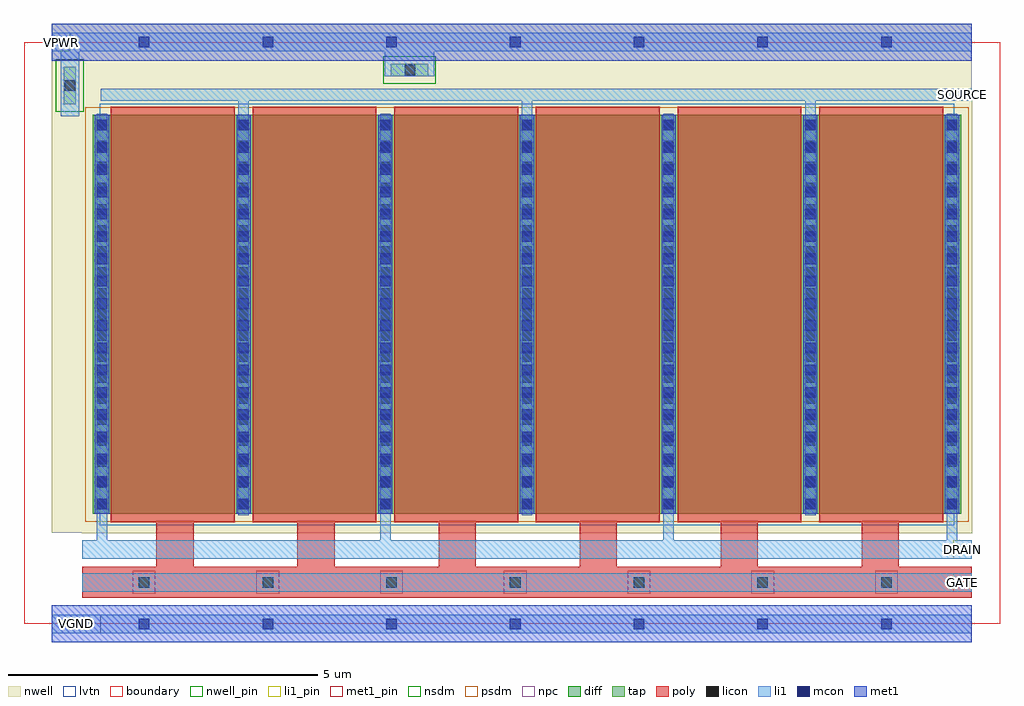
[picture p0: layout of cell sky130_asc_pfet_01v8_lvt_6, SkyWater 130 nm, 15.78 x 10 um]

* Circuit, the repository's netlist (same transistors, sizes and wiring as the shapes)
* NGSPICE file created from sky130_asc_pfet_01v8_lvt_6.ext - technology: sky130A

.subckt sky130_asc_pfet_01v8_lvt_6 GATE SOURCE DRAIN VGND VPWR
X0 SOURCE GATE DRAIN VPWR sky130_fd_pr__pfet_01v8_lvt ad=5.6115e+12p pd=4.044e+07u as=7.482e+12p ps=5.392e+07u w=6.45e+06u l=2e+06u
X1 SOURCE GATE DRAIN VPWR sky130_fd_pr__pfet_01v8_lvt ad=0p pd=0u as=0p ps=0u w=6.45e+06u l=2e+06u
X2 DRAIN GATE SOURCE VPWR sky130_fd_pr__pfet_01v8_lvt ad=0p pd=0u as=0p ps=0u w=6.45e+06u l=2e+06u
X3 DRAIN GATE SOURCE VPWR sky130_fd_pr__pfet_01v8_lvt ad=0p pd=0u as=0p ps=0u w=6.45e+06u l=2e+06u
X4 SOURCE GATE DRAIN VPWR sky130_fd_pr__pfet_01v8_lvt ad=0p pd=0u as=0p ps=0u w=6.45e+06u l=2e+06u
X5 DRAIN GATE SOURCE VPWR sky130_fd_pr__pfet_01v8_lvt ad=0p pd=0u as=0p ps=0u w=6.45e+06u l=2e+06u
.ends

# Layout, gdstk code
import gdstk
lib = gdstk.Library(unit=1e-6, precision=1e-09)
def R(c, l, rs):  # rectangles x0, y0, x1, y1
    for r in rs: c.add(gdstk.rectangle(r[:2], r[2:], *l))
def A(c, l, x, y, w, h, nx, ny, dx, dy):  # array of equal rectangles
    R(c, l, [(x+i*dx, y+j*dy, x+i*dx+w, y+j*dy+h) for i in range(nx) for j in range(ny)])
nwell_pin = (64, 16)
nwell = (64, 20)
diff = (65, 20)
tap = (65, 44)
poly = (66, 20)
licon = (66, 44)
li1_pin = (67, 16)
li1 = (67, 20)
mcon = (67, 44)
met1_pin = (68, 16)
met1 = (68, 20)
nsdm = (93, 44)
psdm = (94, 20)
npc = (95, 20)
lvtn = (125, 44)
boundary = (235, 4)

sky130_asc_pfet_01v8_lvt = lib.new_cell('sky130_asc_pfet_01v8_lvt_6')
R(sky130_asc_pfet_01v8_lvt, nwell_pin, [(0.45,9.25,0.75,9.55)])
R(sky130_asc_pfet_01v8_lvt, nwell, [(0.935,1.465,15.325,1.47), (0.45,1.47,15.325,8.535), (0.45,8.535,15.32,9.7)])
R(sky130_asc_pfet_01v8_lvt, diff, [(1.115,1.775,15.145,8.225)])
R(sky130_asc_pfet_01v8_lvt, tap, [(0.64,8.4,0.84,9), (5.93,8.85,6.53,9.05)])
A(sky130_asc_pfet_01v8_lvt, poly, 2.14, 0.92, 0.6, 0.725, 6, 1, 2.28, 0)
A(sky130_asc_pfet_01v8_lvt, poly, 1.405, 1.645, 2, 6.71, 6, 1, 2.29, 0)
R(sky130_asc_pfet_01v8_lvt, poly, [(0.94,0.42,15.32,0.92)])
A(sky130_asc_pfet_01v8_lvt, licon, 1.855, 0.585, 0.17, 0.17, 7, 1, 2, 0)
A(sky130_asc_pfet_01v8_lvt, licon, 1.175, 1.855, 0.17, 0.17, 7, 19, 2.29, 0.34)
R(sky130_asc_pfet_01v8_lvt, licon, [(0.655,8.615,0.825,8.785), (6.155,8.865,6.325,9.035)])
R(sky130_asc_pfet_01v8_lvt, li1_pin, [(15.02,0.52,15.32,0.82), (15.02,1.05,15.32,1.35), (15.02,8.45,15.32,8.65)])
A(sky130_asc_pfet_01v8_lvt, li1, 1.175, 1.35, 0.17, 6.895, 4, 1, 4.58, 0)
A(sky130_asc_pfet_01v8_lvt, li1, 3.465, 1.755, 0.17, 6.695, 3, 1, 4.58, 0)
R(sky130_asc_pfet_01v8_lvt, li1, [(0.45,-0.15,15.32,0.15), (0.94,0.52,15.32,0.82), (0.94,1.05,15.32,1.35), (0.59,8.2,0.89,9.25), (1.24,8.45,15.32,8.65), (5.83,8.85,6.63,9.25), (0.45,9.25,15.32,9.55)])
A(sky130_asc_pfet_01v8_lvt, mcon, 1.855, -0.085, 0.17, 0.17, 7, 2, 2, 9.4)
A(sky130_asc_pfet_01v8_lvt, mcon, 1.175, 1.855, 0.17, 0.17, 7, 18, 2.29, 0.36)
R(sky130_asc_pfet_01v8_lvt, met1_pin, [(0.45,-0.15,1.24,0.15)])
A(sky130_asc_pfet_01v8_lvt, met1, 1.145, 1.775, 0.23, 6.45, 7, 1, 2.29, 0)
R(sky130_asc_pfet_01v8_lvt, met1, [(0.45,-0.3,15.32,0.3), (0.45,9.1,15.32,9.7)])
R(sky130_asc_pfet_01v8_lvt, nsdm, [(0.515,8.275,0.965,9.125), (5.805,8.725,6.655,9.175)])
R(sky130_asc_pfet_01v8_lvt, psdm, [(0.99,1.65,15.27,8.35)])
A(sky130_asc_pfet_01v8_lvt, npc, 1.755, 0.485, 0.37, 0.37, 7, 1, 2, 0)
R(sky130_asc_pfet_01v8_lvt, lvtn, [(1.225,1.595,15.035,8.405)])
R(sky130_asc_pfet_01v8_lvt, boundary, [(0,0,15.775,9.4)])
sky130_asc_pfet_01v8_lvt.add(gdstk.Label('GATE', (15.17,0.67), layer=67, texttype=16))
sky130_asc_pfet_01v8_lvt.add(gdstk.Label('SOURCE', (15.17,8.55), layer=67, texttype=16))
sky130_asc_pfet_01v8_lvt.add(gdstk.Label('DRAIN', (15.17,1.2), layer=67, texttype=16))
sky130_asc_pfet_01v8_lvt.add(gdstk.Label('VPWR', (0.6,9.4), layer=64, texttype=16))
sky130_asc_pfet_01v8_lvt.add(gdstk.Label('VGND', (0.845,0), layer=68, texttype=16))

lib.write_gds('sky130_asc_pfet_01v8_lvt_6.gds')
